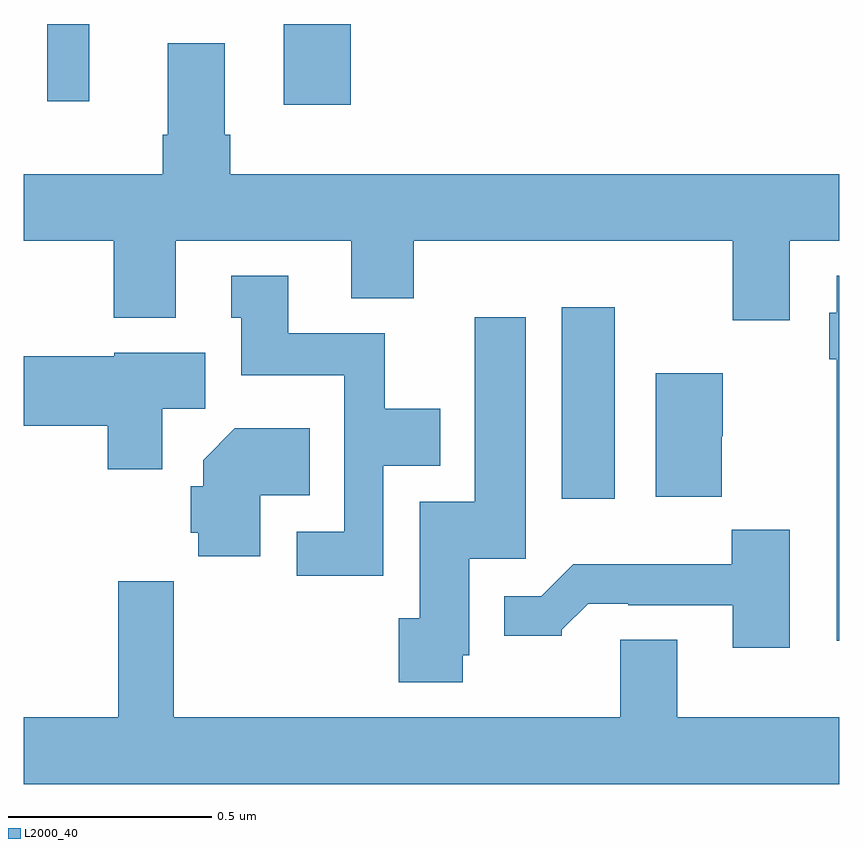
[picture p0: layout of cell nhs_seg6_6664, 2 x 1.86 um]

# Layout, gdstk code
import gdstk
lib = gdstk.Library(unit=1e-6, precision=1e-09)
def R(c, l, rs):  # rectangles x0, y0, x1, y1
    for r in rs: c.add(gdstk.rectangle(r[:2], r[2:], *l))
def P(c, l, *ps):  # polygons
    for p in ps: c.add(gdstk.Polygon(p, *l))
L2000_40 = (2000, 40)

nhs_seg6_6664 = lib.new_cell('nhs_seg6_6664')
R(nhs_seg6_6664, L2000_40, [(199.319,981.336,199.45,981.805), (198.638,982.302,198.802,982.5), (198.058,982.311,198.161,982.5)])
P(nhs_seg6_6664, L2000_40, [(199.879,981.968),(200,981.968),(200,982.132),(198.506,982.132),(198.506,982.228),(198.493,982.228),(198.493,982.453),(198.353,982.453),(198.353,982.228),(198.341,982.228),(198.341,982.132),(198,982.132),(198,981.968),(198.221,981.968),(198.221,981.779),(198.373,981.779),(198.373,981.968),(198.803,981.968),(198.803,981.827),(198.956,981.827),(198.956,981.968),(199.739,981.968),(199.739,981.774),(199.879,981.774)],
  [(198.882,981.416),(199.021,981.416),(199.021,981.556),(198.885,981.556),(198.885,981.742),(198.649,981.742),(198.649,981.883),(198.509,981.883),(198.509,981.78),(198.533,981.78),(198.533,981.638),(198.786,981.638),(198.786,981.255),(198.669,981.255),(198.669,981.147),(198.882,981.147)],
  [(200,981.883),(199.994,981.883),(199.994,981.792),(199.976,981.792),(199.976,981.678),(199.994,981.678),(199.994,980.987),(200,980.987)],
  [(199.077,980.952),(199.093,980.952),(199.093,981.189),(199.231,981.189),(199.231,981.781),(199.106,981.781),(199.106,981.328),(198.971,981.328),(198.971,981.042),(198.92,981.042),(198.92,980.886),(199.077,980.886)],
  [(198.34,981.556),(198.445,981.556),(198.445,981.694),(198.222,981.694),(198.222,981.685),(198,981.685),(198,981.515),(198.206,981.515),(198.206,981.408),(198.34,981.408)],
  [(199.712,981.489),(199.714,981.489),(199.714,981.643),(199.55,981.643),(199.55,981.341),(199.712,981.341)],
  [(198.58,981.344),(198.701,981.344),(198.701,981.508),(198.518,981.508),(198.44,981.43),(198.44,981.366),(198.41,981.366),(198.41,981.252),(198.428,981.252),(198.428,981.194),(198.58,981.194)],
  [(199.879,981.259),(199.737,981.259),(199.737,981.175),(199.348,981.175),(199.269,981.096),(199.178,981.096),(199.178,980.999),(199.32,980.999),(199.32,981.014),(199.384,981.078),(199.483,981.078),(199.483,981.075),(199.739,981.075),(199.739,980.97),(199.879,980.97)],
  [(200,980.8),(199.603,980.8),(199.603,980.99),(199.463,980.99),(199.463,980.8),(198.368,980.8),(198.368,981.133),(198.232,981.133),(198.232,980.8),(198,980.8),(198,980.636),(200,980.636)])

lib.write_gds('nhs_seg6_6664.gds')
